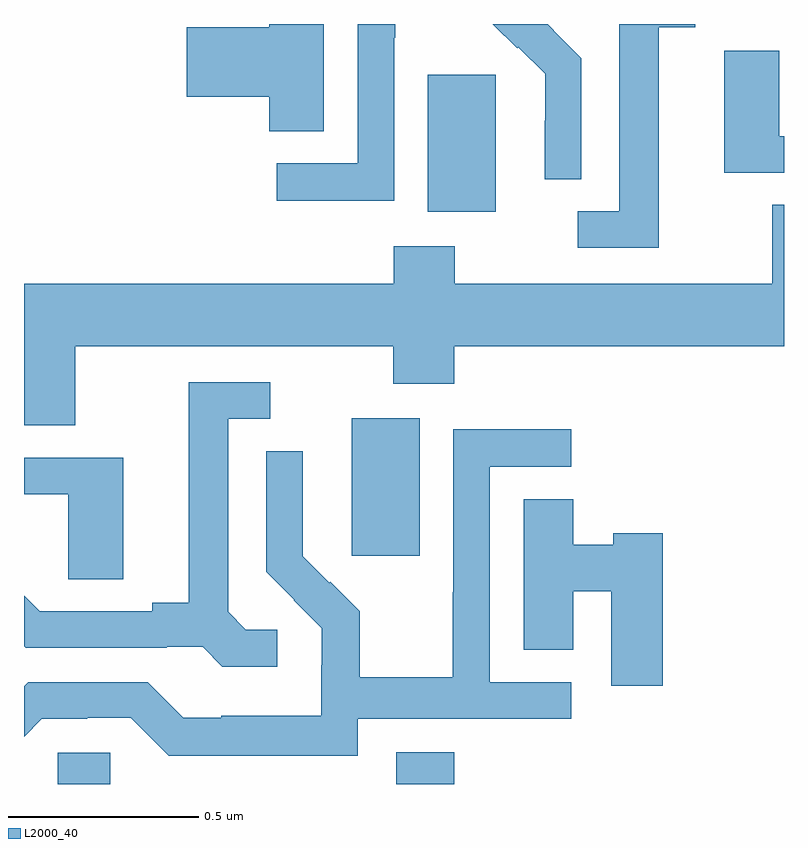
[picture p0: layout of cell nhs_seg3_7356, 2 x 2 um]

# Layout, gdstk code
import gdstk
lib = gdstk.Library(unit=1e-6, precision=1e-09)
def R(c, l, rs):  # rectangles x0, y0, x1, y1
    for r in rs: c.add(gdstk.rectangle(r[:2], r[2:], *l))
def P(c, l, *ps):  # polygons
    for p in ps: c.add(gdstk.Polygon(p, *l))
L2000_40 = (2000, 40)

nhs_seg3_7356 = lib.new_cell('nhs_seg3_7356')
R(nhs_seg3_7356, L2000_40, [(202.089,730.4,202.227,730.482), (202.979,730.4,203.132,730.483), (202.862,731.001,203.041,731.362), (203.063,731.906,203.242,732.267)])
P(nhs_seg3_7356, L2000_40, [(203.466,732.31),(203.393,732.383),(203.394,732.384),(203.378,732.4),(203.234,732.4),(203.298,732.336),(203.301,732.339),(203.372,732.269),(203.372,732.146),(203.37,732.146),(203.37,731.992),(203.466,731.992)],
  [(203.671,732.392),(203.767,732.392),(203.767,732.4),(203.567,732.4),(203.567,731.907),(203.457,731.907),(203.457,731.811),(203.671,731.811)],
  [(202.974,732.364),(202.977,732.364),(202.977,732.4),(202.878,732.4),(202.878,732.033),(202.665,732.033),(202.665,731.935),(202.974,731.935)],
  [(202.789,732.4),(202.646,732.4),(202.646,732.392),(202.428,732.392),(202.428,732.209),(202.646,732.209),(202.646,732.118),(202.789,732.118)],
  [(204,732.105),(203.988,732.105),(203.988,732.329),(203.843,732.329),(203.843,732.009),(204,732.009)],
  [(202.135,731.552),(202.972,731.552),(202.972,731.453),(203.132,731.453),(203.132,731.552),(204,731.552),(204,731.924),(203.969,731.924),(203.969,731.716),(203.133,731.716),(203.133,731.815),(202.973,731.815),(202.973,731.716),(202,731.716),(202,731.344),(202.135,731.344)],
  [(202.666,730.806),(202.584,730.806),(202.537,730.853),(202.537,731.361),(202.648,731.361),(202.648,731.457),(202.433,731.457),(202.433,730.877),(202.337,730.877),(202.337,730.854),(202.042,730.854),(202,730.896),(202,730.762),(202.004,730.758),(202.376,730.758),(202.376,730.761),(202.47,730.761),(202.522,730.709),(202.666,730.709)],
  [(202.878,730.572),(203.44,730.572),(203.44,730.668),(203.226,730.668),(203.226,731.235),(203.44,731.235),(203.44,731.334),(203.13,731.334),(203.13,730.904),(203.128,730.904),(203.128,730.681),(202.883,730.681),(202.883,730.855),(202.806,730.932),(202.803,730.929),(202.733,731),(202.733,731.122),(202.734,731.122),(202.734,731.276),(202.638,731.276),(202.638,730.958),(202.711,730.885),(202.71,730.884),(202.784,730.81),(202.784,730.713),(202.782,730.713),(202.782,730.579),(202.519,730.579),(202.519,730.575),(202.419,730.575),(202.326,730.668),(202.011,730.668),(202,730.657),(202,730.525),(202.047,730.572),(202.166,730.572),(202.166,730.575),(202.281,730.575),(202.381,730.475),(202.878,730.475)],
  [(202.261,731.259),(202,731.259),(202,731.163),(202.116,731.163),(202.116,730.939),(202.261,730.939)],
  [(203.681,731.06),(203.55,731.06),(203.55,731.029),(203.446,731.029),(203.446,731.15),(203.315,731.15),(203.315,730.753),(203.446,730.753),(203.446,730.907),(203.546,730.907),(203.546,730.659),(203.681,730.659)])

lib.write_gds('nhs_seg3_7356.gds')
